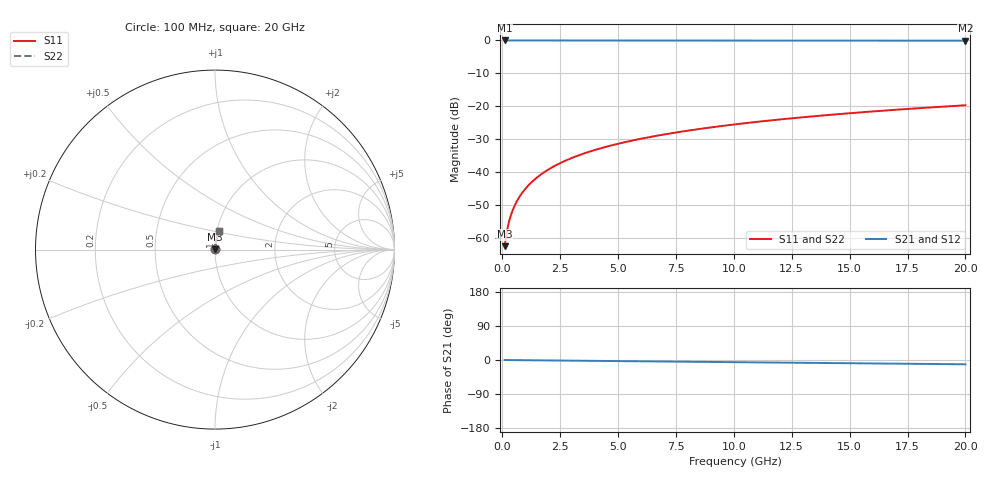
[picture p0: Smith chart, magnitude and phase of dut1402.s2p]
! Touchstone file exported from HFSS 2026.1.0
!  File:  C:/ffzhzh/LocalFiles/Ansys_Project_Files/temp_train_BSMRDL_1402_1783179890_55132.aedt
!  Generated:  11:46:00 PM Jul  4, 2026
!  Design:  BSMRDL
!  Project:  temp_train_BSMRDL_1402_1783179890_55132
! Variables:
!  h_bsmrdl = 5.81um
!  h_ox = 20um
!  h_rdl = 5um
!  h_sub = 80um
!  h_tmrdl = 5um
!  h_tsv = 80um
!  h_via = 3um
!  l_bsmrdl = 135.61um
!  l_sub = 535.61um
!  l_tmrdl = 200um
!  m_sub = 200um
!  pitch = 53.01um
!  r_tsv = 6um
!  s_tmrdl = 10um
!  w_bsmrdl = 27.1um
!  w_sub = 500um
!  w_tmrdl = 12um
!  x_tsv_center1 = 206um
!  x_tsv_center2 = 368.71um
!  x_tsv_center3 = 580.71um
!  x_tsv_center4 = 743.42um
!  x_tsv_center5 = 955.42um
!  x_tsv_center6 = 1118.13um
# GHz S MA R 50.000000
! Terminal data exported
! Port[1] = BSM_RDL1_1_T1
! Port[2] = BSM_RDL1_1_T2
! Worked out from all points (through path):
!   200 points, 100 MHz to 20 GHz, reference 50 ohm
!   highest |S21| = 0.00 dB at 100 MHz (marker M1); lowest = -0.1 dB at 20 GHz (marker M2)
!   group delay of S21, straight-line fit = 1.57 ps
!   lowest |S11| = -62.4 dB at 100 MHz (marker M3), VSWR 1.00, Z = 50 + j0.0606 ohm
!   |S11| at or under -10 dB: start of sweep to end of sweep
!   |S22| runs from -62.4 to -19.7 dB; largest |S21 - S12| = 4.6e-15
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0.1  0.0007583 53.0  0.9995 -0.1  0.9995 -0.1  0.0007583 53.0
! Gamma 0 0 0 0
! Port Impedance 50 0 50 0
0.2  0.001293 67.7  0.9995 -0.1  0.9995 -0.1  0.001293 67.7
0.3  0.001846 73.2  0.9995 -0.2  0.9995 -0.2  0.001846 73.2
0.4  0.002394 76.2  0.9994 -0.2  0.9994 -0.2  0.002394 76.2
0.5  0.002938 78.1  0.9994 -0.3  0.9994 -0.3  0.002938 78.1
0.7  0.00402 80.5  0.9993 -0.4  0.9993 -0.4  0.00402 80.5
0.8  0.004562 81.3  0.9993 -0.5  0.9993 -0.5  0.004562 81.3
1  0.005646 82.4  0.9993 -0.6  0.9993 -0.6  0.005646 82.4
1.2  0.006733 83.2  0.9992 -0.7  0.9992 -0.7  0.006733 83.2
1.4  0.007821 83.7  0.9992 -0.8  0.9992 -0.8  0.007821 83.7
1.7  0.009452 84.2  0.9992 -1.0  0.9992 -1.0  0.009452 84.2
2  0.01108 84.5  0.9991 -1.2  0.9991 -1.2  0.01108 84.5
2.7  0.01487 84.7  0.9989 -1.6  0.9989 -1.6  0.01487 84.7
3.5  0.01916 84.7  0.9987 -2.0  0.9987 -2.0  0.01916 84.7
4.2  0.02288 84.5  0.9985 -2.4  0.9985 -2.4  0.02288 84.5
5  0.0271 84.2  0.9983 -2.9  0.9983 -2.9  0.0271 84.2
6.8  0.03653 83.5  0.9977 -3.9  0.9977 -3.9  0.03653 83.5
8.3  0.04432 82.9  0.9972 -4.8  0.9972 -4.8  0.04432 82.8
10.1  0.05363 82.0  0.9965 -5.8  0.9965 -5.8  0.05363 82.0
13.4  0.07058 80.5  0.9952 -7.6  0.9952 -7.6  0.07058 80.5
16.7  0.08737 78.8  0.9936 -9.5  0.9936 -9.5  0.08737 78.8
20  0.104 77.1  0.9917 -11.3  0.9917 -11.3  0.104 77.1
